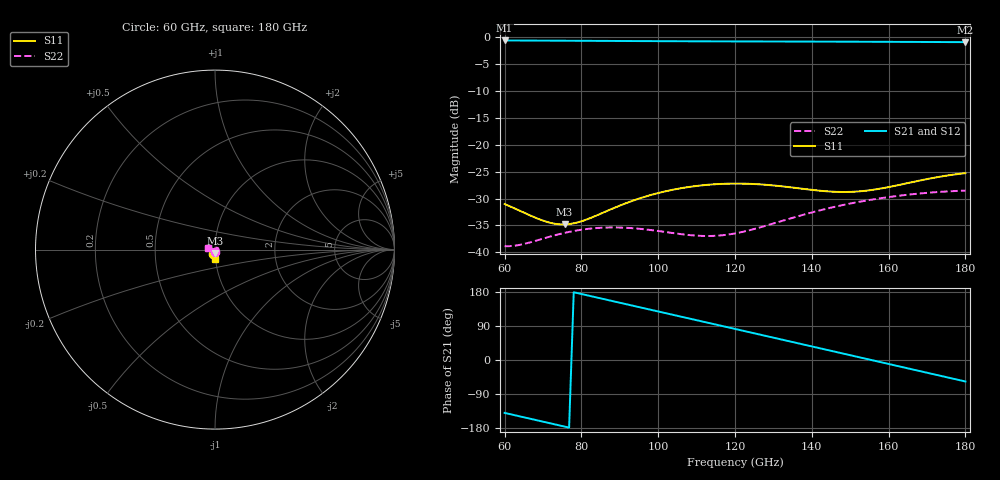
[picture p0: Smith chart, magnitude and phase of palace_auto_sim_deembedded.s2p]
! Created with skrf 1.11.0 (http://scikit-rf.org).
# GHz S DB R 50.0
!freq dBS11 angS11 dBS21 angS21 dBS12 angS12 dBS22 angS22
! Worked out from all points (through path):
!   101 points, 60 GHz to 180 GHz, reference 50 ohm
!   highest |S21| = -0.58 dB at 60 GHz (marker M1); lowest = -0.9 dB at 180 GHz (marker M2)
!   group delay of S21, straight-line fit = 6.41 ps
!   lowest |S11| = -34.8 dB at 75.6 GHz (marker M3), VSWR 1.04, Z = 49.8 - j1.8 ohm
!   |S11| at or under -10 dB: start of sweep to end of sweep
!   |S22| runs from -38.8 to -28.5 dB; largest |S21 - S12| = 1.6e-14
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60  -31.01 -115.7  -0.58 -139.6  -0.58 -139.6  -38.84 -84.6
68.4  -33.66 -111.8  -0.60 -159.0  -0.60 -159.0  -37.78 -79.5
75.6  -34.80 -95.3  -0.63 -175.6  -0.63 -175.6  -36.38 -88.8
80.4  -34.13 -83.4  -0.64 173.3  -0.64 173.3  -35.75 -99.9
85.2  -32.75 -76.4  -0.66 162.2  -0.66 162.2  -35.42 -113.7
90  -31.30 -74.1  -0.68 151.1  -0.68 151.1  -35.38 -129.9
94.8  -30.05 -75.0  -0.69 140.1  -0.69 140.1  -35.59 -148.4
100.8  -28.82 -78.4  -0.71 126.2  -0.71 126.2  -36.10 -174.8
110.4  -27.61 -86.2  -0.74 104.1  -0.74 104.1  -36.91 134.5
115.2  -27.31 -90.3  -0.75 93.1  -0.75 93.1  -36.91 106.1
120  -27.20 -94.2  -0.76 82.0  -0.76 82.0  -36.48 77.4
124.8  -27.28 -97.6  -0.76 70.9  -0.76 70.9  -35.69 49.9
129.6  -27.52 -100.1  -0.77 59.9  -0.77 59.9  -34.71 24.3
134.4  -27.89 -101.3  -0.78 48.8  -0.78 48.8  -33.70 0.4
140.4  -28.40 -100.5  -0.79 34.9  -0.79 34.9  -32.50 -27.4
146.4  -28.74 -96.8  -0.80 21.0  -0.80 21.0  -31.46 -53.9
151.2  -28.71 -92.6  -0.81 9.9  -0.81 9.9  -30.75 -74.4
156  -28.35 -88.5  -0.82 -1.2  -0.82 -1.2  -30.14 -94.6
160.8  -27.74 -85.6  -0.84 -12.3  -0.84 -12.3  -29.64 -114.6
165.6  -27.02 -84.3  -0.85 -23.4  -0.85 -23.4  -29.23 -134.5
170.4  -26.31 -84.7  -0.86 -34.5  -0.86 -34.5  -28.90 -154.4
180  -25.26 -88.9  -0.89 -56.7  -0.89 -56.7  -28.51 165.3
